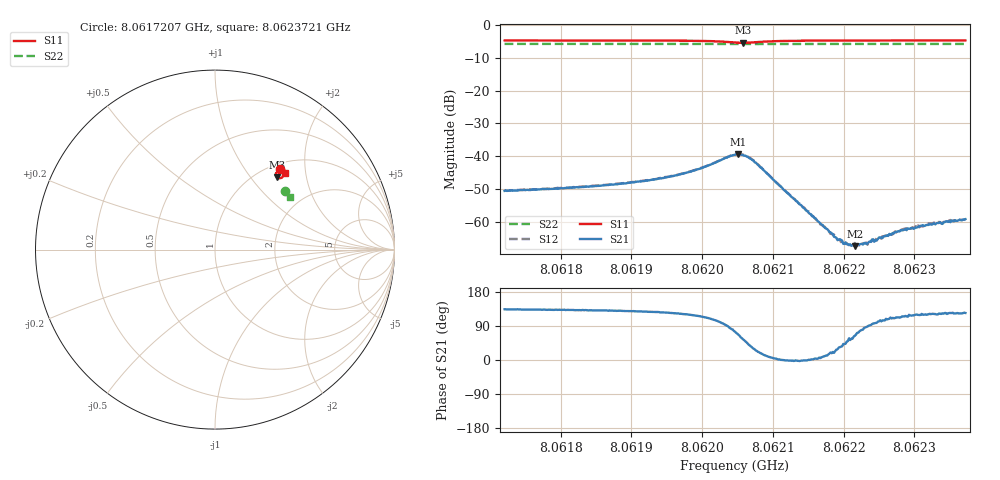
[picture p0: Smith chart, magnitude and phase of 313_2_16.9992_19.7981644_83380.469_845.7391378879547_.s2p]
#  HZ  S  RI  R  50.00
! Rohde & Schwarz Vector Network Analyzer
! Rohde-Schwarz,ZNB20-2Port,1311601062101988,3.16
! Created: UTC 3/20/2024, 11:06:05 PM
! freq[Hz]  re:S11  im:S11  re:S21  im:S21  re:S12  im:S12  re:S22  im:S22
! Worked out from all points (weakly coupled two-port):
!   401 points, 8.0617207 GHz to 8.0623721 GHz, reference 50 ohm
!   highest |S21| = -39.32 dB at 8.0620513 GHz (marker M1); lowest = -67.3 dB at 8.0622157 GHz (marker M2)
!   lowest |S11| = -5.5 dB at 8.0620578 GHz (marker M3), VSWR 3.26, Z = 61 + j68.2 ohm
!   |S11| at or under -10 dB: nowhere
!   |S22| runs from -5.9 to -5.8 dB; largest |S21 - S12| = 0.00084
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8.0617207e9  0.3597 0.4498  -0.00208 0.00216  -0.00197 0.00233  0.3924 0.3272
8.06182981e9  0.3671 0.4433  -0.00227 0.00255  -0.00213 0.00273  0.3965 0.3219
8.06189494e9  0.3721 0.4385  -0.0025 0.00307  -0.00235 0.00326  0.3989 0.3185
8.06193891e9  0.3759 0.4337  -0.00274 0.0037  -0.00249 0.00392  0.4005 0.3161
8.06198613e9  0.38 0.4249  -0.00288 0.00528  -0.00258 0.0055  0.4023 0.3134
8.06204638e9  0.3605 0.3973  0.0028 0.0102  0.00353 0.01  0.403 0.3096
8.06205127e9  0.3542 0.398  0.00428 0.00993  0.00494 0.00967  0.4029 0.3095
8.06205778e9  0.346 0.4021  0.00609 0.00852  0.00671 0.00828  0.4029 0.3096
8.06206592e9  0.3396 0.4116  0.00732 0.00621  0.00772 0.00578  0.403 0.3097
8.06207569e9  0.3391 0.4234  0.00729 0.00346  0.00753 0.00305  0.4034 0.3099
8.06215548e9  0.3681 0.4383  0.00123 3.76e-05  0.00127 -5.54e-05  0.4077 0.3063
8.06218968e9  0.3734 0.4361  0.000516 0.000265  0.000542 0.000184  0.409 0.3045
8.06219293e9  0.3739 0.4359  0.000457 0.000292  0.000484 0.000244  0.4094 0.3043
8.0622027e9  0.375 0.4353  0.000363 0.000337  0.000364 0.000295  0.4095 0.3038
8.06220922e9  0.3758 0.4349  0.000278 0.000365  0.000303 0.000345  0.4099 0.3035
8.06221573e9  0.3766 0.4345  0.000191 0.00039  0.000238 0.000423  0.4101 0.3031
8.06223201e9  0.3781 0.4334  2.33e-05 0.00047  4.79e-05 0.000489  0.4106 0.3022
8.06226458e9  0.381 0.4314  -0.000217 0.00063  -0.000161 0.000636  0.4118 0.3007
8.06228575e9  0.3826 0.4302  -0.000326 0.000697  -0.000323 0.000729  0.4125 0.2995
8.06231018e9  0.3844 0.4288  -0.000465 0.000758  -0.000385 0.000796  0.4135 0.2983
8.06231995e9  0.3851 0.4282  -0.000467 0.000783  -0.000428 0.000865  0.4139 0.2978
8.06237206e9  0.3888 0.4253  -0.000625 0.000924  -0.000573 0.000944  0.4157 0.2952
